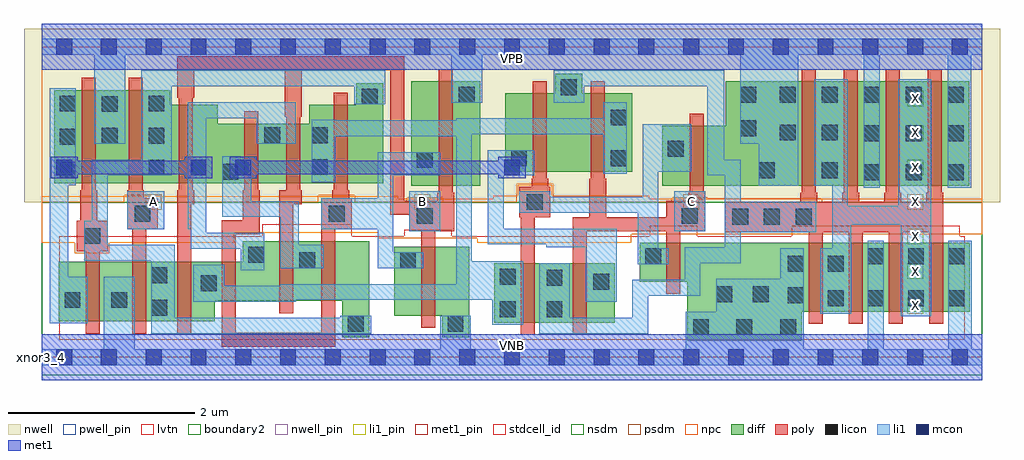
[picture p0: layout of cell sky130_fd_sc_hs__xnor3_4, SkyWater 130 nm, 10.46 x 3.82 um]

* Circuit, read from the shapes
.subckt sky130_fd_sc_hs__xnor3_4 A B C VGND VNB VPB VPWR X
XM1 VGND n1 n2 VNB sky130_fd_pr__nfet_01v8_lvt w=0.64 l=0.15
XM2 n1 A VGND VNB sky130_fd_pr__nfet_01v8_lvt w=0.64 l=0.15
XM3 n3 B n1 VNB sky130_fd_pr__nfet_01v8_lvt w=0.64 l=0.15
XM4 n2 n4 n3 VNB sky130_fd_pr__nfet_01v8_lvt w=0.42 l=0.15
XM5 n5 B n2 VNB sky130_fd_pr__nfet_01v8_lvt w=0.64 l=0.15
XM6 n1 n4 n5 VNB sky130_fd_pr__nfet_01v8_lvt w=0.64 l=0.15
XM7 VGND B n4 VNB sky130_fd_pr__nfet_01v8_lvt w=0.74 l=0.15
XM8 n6 n7 n3 VNB sky130_fd_pr__nfet_01v8_lvt w=0.64 l=0.15
XM9 n5 C n6 VNB sky130_fd_pr__nfet_01v8_lvt w=0.64 l=0.15
XM10 VGND C n7 VNB sky130_fd_pr__nfet_01v8_lvt w=0.42 l=0.15
XM11 X n6 VGND VNB sky130_fd_pr__nfet_01v8_lvt w=0.74 l=0.15 m=4
XM12 VPWR n1 n2 VPB sky130_fd_pr__pfet_01v8 w=1 l=0.15
XM13 n1 A VPWR VPB sky130_fd_pr__pfet_01v8 w=1 l=0.15
XM14 n5 B n1 VPB sky130_fd_pr__pfet_01v8 w=0.84 l=0.15
XM15 n2 n4 n5 VPB sky130_fd_pr__pfet_01v8 w=0.64 l=0.15
XM16 n3 B n2 VPB sky130_fd_pr__pfet_01v8 w=0.64 l=0.15
XM17 n1 n4 n3 VPB sky130_fd_pr__pfet_01v8 w=0.84 l=0.15
XM18 VPWR B n4 VPB sky130_fd_pr__pfet_01v8 w=1.12 l=0.15
XM19 n6 n7 n5 VPB sky130_fd_pr__pfet_01v8 w=0.84 l=0.15
XM20 n3 C n6 VPB sky130_fd_pr__pfet_01v8 w=0.84 l=0.15
XM21 VPWR C n7 VPB sky130_fd_pr__pfet_01v8 w=0.64 l=0.15
XM22 X n6 VPWR VPB sky130_fd_pr__pfet_01v8 w=1.12 l=0.15 m=4
.ends

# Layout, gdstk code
import gdstk
lib = gdstk.Library(unit=1e-6, precision=1e-09)
def R(c, l, rs):  # rectangles x0, y0, x1, y1
    for r in rs: c.add(gdstk.rectangle(r[:2], r[2:], *l))
def A(c, l, x, y, w, h, nx, ny, dx, dy):  # array of equal rectangles
    R(c, l, [(x+i*dx, y+j*dy, x+i*dx+w, y+j*dy+h) for i in range(nx) for j in range(ny)])
def P(c, l, *ps):  # polygons
    for p in ps: c.add(gdstk.Polygon(p, *l))
nwell_pin = (64, 16)
nwell = (64, 20)
diff = (65, 20)
poly = (66, 20)
licon = (66, 44)
li1_pin = (67, 16)
li1 = (67, 20)
mcon = (67, 44)
met1_pin = (68, 16)
met1 = (68, 20)
stdcell_id = (81, 4)
nsdm = (93, 44)
psdm = (94, 20)
npc = (95, 20)
pwell_pin = (122, 16)
lvtn = (125, 44)
boundary2 = (236, 0)

sky130_fd_sc_hs__xnor3_4 = lib.new_cell('sky130_fd_sc_hs__xnor3_4')
R(sky130_fd_sc_hs__xnor3_4, nwell_pin, [(0,3.085,10.08,3.33)])
R(sky130_fd_sc_hs__xnor3_4, nwell, [(-0.19,1.66,10.27,3.52)])
R(sky130_fd_sc_hs__xnor3_4, diff, [(4.85,0.37,6.14,1.01), (3.96,1.84,4.7,2.96)])
P(sky130_fd_sc_hs__xnor3_4, diff, [(3.51,1.245),(2.155,1.245),(2.155,1.025),(0.185,1.025),(0.185,0.385),(1.855,0.385),(1.855,0.605),(3.22,0.605),(3.22,0.215),(3.51,0.215)],
  [(3.66,2.94),(3.37,2.94),(3.37,2.705),(2.865,2.705),(2.865,2.505),(1.885,2.505),(1.885,2.705),(1.375,2.705),(1.375,2.865),(0.135,2.865),(0.135,1.865),(3.66,1.865)],
  [(4.58,1.185),(3.78,1.185),(3.78,0.445),(4.29,0.445),(4.29,0.215),(4.58,0.215)],
  [(6.33,2.83),(5.795,2.83),(5.795,3.04),(5.505,3.04),(5.505,2.83),(4.97,2.83),(4.97,1.99),(6.33,1.99)],
  [(9.94,2.96),(7.33,2.96),(7.33,2.48),(6.65,2.48),(6.65,1.84),(9.94,1.84)],
  [(9.945,1.23),(6.41,1.23),(6.41,0.81),(6.92,0.81),(6.92,0.18),(8.145,0.18),(8.145,0.49),(9.945,0.49)])
P(sky130_fd_sc_hs__xnor3_4, poly, [(9.66,1.765),(9.645,1.765),(9.645,3.09),(9.495,3.09),(9.495,1.765),(9.48,1.765),(9.48,1.665),(9.21,1.665),(9.21,1.765),(9.195,1.765),(9.195,3.09),(9.045,3.09),(9.045,1.765),(9.03,1.765),(9.03,1.67),(8.76,1.67),(8.76,1.765),(8.745,1.765),(8.745,3.09),(8.595,3.09),(8.595,1.765),(8.58,1.765),(8.58,1.67),(8.31,1.67),(8.31,1.765),(8.295,1.765),(8.295,3.09),(8.145,3.09),(8.145,1.765),(8.13,1.765),(8.13,1.67),(7.32,1.67),(7.32,1.34),(8.22,1.34),(8.22,0.36),(8.37,0.36),(8.37,1.34),(8.65,1.34),(8.65,0.36),(8.8,0.36),(8.8,1.34),(9.08,1.34),(9.08,0.36),(9.23,0.36),(9.23,1.34),(9.51,1.34),(9.51,0.36),(9.66,0.36)],
  [(7.11,1.765),(7.095,1.765),(7.095,2.61),(6.945,2.61),(6.945,1.765),(6.93,1.765),(6.93,1.68),(6.695,1.68),(6.695,1.5),(6.05,1.5),(6.05,1.915),(6.035,1.915),(6.035,2.96),(5.885,2.96),(5.885,1.915),(5.87,1.915),(5.87,1.5),(5.69,1.5),(5.69,0.24),(5.84,0.24),(5.84,1.35),(6.695,1.35),(6.695,0.68),(6.845,0.68),(6.845,1.35),(7.11,1.35)],
  [(5.45,1.83),(5.43,1.83),(5.43,1.915),(5.415,1.915),(5.415,2.96),(5.265,2.96),(5.265,1.915),(5.25,1.915),(5.25,1.83),(5.12,1.83),(5.12,1.5),(5.135,1.5),(5.135,0.24),(5.285,0.24),(5.285,1.5),(5.45,1.5)],
  [(4.42,1.765),(4.405,1.765),(4.405,3.09),(4.255,3.09),(4.255,1.765),(4.24,1.765),(4.24,1.68),(3.885,1.68),(3.885,3.225),(1.455,3.225),(1.455,2.78),(1.47,2.78),(1.47,1.79),(1.455,1.79),(1.455,0.255),(1.605,0.255),(1.605,1.64),(1.635,1.64),(1.635,1.79),(1.62,1.79),(1.62,2.78),(1.635,2.78),(1.635,3.075),(2.605,3.075),(2.605,2.58),(2.62,2.58),(2.62,1.79),(2.545,1.79),(2.545,0.475),(2.695,0.475),(2.695,1.64),(2.785,1.64),(2.785,1.79),(2.77,1.79),(2.77,2.58),(2.785,2.58),(2.785,3.075),(3.735,3.075),(3.735,1.53),(3.94,1.53),(3.94,1.35),(4.065,1.35),(4.065,0.315),(4.215,0.315),(4.215,1.35),(4.42,1.35)],
  [(3.325,1.705),(3.295,1.705),(3.295,1.79),(3.28,1.79),(3.28,2.835),(3.13,2.835),(3.13,1.79),(3.115,1.79),(3.115,1.705),(2.995,1.705),(2.995,0.265),(2.08,0.265),(2.08,1.32),(2.335,1.32),(2.335,1.79),(2.32,1.79),(2.32,2.635),(2.17,2.635),(2.17,1.79),(2.155,1.79),(2.155,1.47),(1.93,1.47),(1.93,0.115),(3.145,0.115),(3.145,1.375),(3.325,1.375)],
  [(1.245,1.705),(1.095,1.705),(1.095,1.79),(1.08,1.79),(1.08,2.995),(0.93,2.995),(0.93,1.79),(0.915,1.79),(0.915,1.375),(0.97,1.375),(0.97,0.255),(1.12,0.255),(1.12,1.375),(1.245,1.375)],
  [(0.705,1.465),(0.595,1.465),(0.595,1.79),(0.58,1.79),(0.58,2.995),(0.43,2.995),(0.43,1.79),(0.415,1.79),(0.415,1.465),(0.375,1.465),(0.375,1.135),(0.47,1.135),(0.47,0.255),(0.62,0.255),(0.62,1.135),(0.705,1.135)])
A(sky130_fd_sc_hs__xnor3_4, licon, 8.425, 0.55, 0.17, 0.17, 4, 1, 0.43, 0)
A(sky130_fd_sc_hs__xnor3_4, licon, 8.855, 1, 0.17, 0.17, 3, 1, 0.43, 0)
A(sky130_fd_sc_hs__xnor3_4, licon, 7.4, 1.42, 0.17, 0.17, 3, 1, 0.34, 0)
A(sky130_fd_sc_hs__xnor3_4, licon, 8.81, 1.9, 0.17, 0.17, 3, 2, 0.45, 0.415)
A(sky130_fd_sc_hs__xnor3_4, licon, 0.195, 1.925, 0.17, 0.17, 1, 3, 0, 0.355)
A(sky130_fd_sc_hs__xnor3_4, licon, 7.91, 2.73, 0.17, 0.17, 5, 1, 0.45, 0)
R(sky130_fd_sc_hs__xnor3_4, licon, [(6.98,0.24,7.15,0.41), (7.445,0.24,7.615,0.41), (7.915,0.24,8.085,0.41), (3.28,0.275,3.45,0.445), (4.35,0.275,4.52,0.445), (4.91,0.43,5.08,0.6), (5.41,0.43,5.58,0.6), (1.175,0.445,1.345,0.615), (0.245,0.53,0.415,0.7), (0.745,0.53,0.915,0.7), (7.995,0.58,8.165,0.75), (7.23,0.59,7.4,0.76), (7.62,0.59,7.79,0.76), (1.705,0.71,1.875,0.88), (5.91,0.725,6.08,0.895), (5.41,0.77,5.58,0.94), (4.91,0.78,5.08,0.95), (1.175,0.795,1.345,0.965), (7.995,0.92,8.165,1.09), (8.425,0.92,8.595,1.09), (2.76,0.955,2.93,1.125), (3.84,0.955,4.01,1.125), (6.47,1,6.64,1.17), (2.215,1.015,2.385,1.185), (0.455,1.215,0.625,1.385), (4.02,1.43,4.19,1.6), (6.86,1.43,7.03,1.6), (0.995,1.455,1.165,1.625), (3.075,1.455,3.245,1.625), (5.2,1.58,5.37,1.75), (1.935,1.905,2.105,2.075), (7.685,1.92,7.855,2.09), (8.36,1.92,8.53,2.09), (1.145,1.95,1.315,2.12), (2.895,1.955,3.065,2.125), (4.02,2.03,4.19,2.2), (5.03,2.05,5.2,2.22), (6.1,2.05,6.27,2.22), (6.71,2.15,6.88,2.32), (0.645,2.29,0.815,2.46), (1.145,2.29,1.315,2.46), (2.385,2.295,2.555,2.465), (2.895,2.295,3.065,2.465), (7.91,2.325,8.08,2.495), (8.36,2.325,8.53,2.495), (7.485,2.37,7.655,2.54), (6.1,2.485,6.27,2.655), (0.645,2.63,0.815,2.8), (1.145,2.635,1.315,2.805), (3.43,2.71,3.6,2.88), (4.47,2.73,4.64,2.9), (7.485,2.73,7.655,2.9), (5.565,2.81,5.735,2.98)])
A(sky130_fd_sc_hs__xnor3_4, li1_pin, 9.275, 0.47, 0.17, 0.17, 1, 7, 0, 0.37)
A(sky130_fd_sc_hs__xnor3_4, li1_pin, 1.115, 1.58, 0.17, 0.17, 3, 1, 2.88, 0)
R(sky130_fd_sc_hs__xnor3_4, li1, [(3.94,1.35,4.27,1.78), (6.78,1.35,7.11,1.78), (0.915,1.375,1.315,1.78)])
P(sky130_fd_sc_hs__xnor3_4, li1, [(0.495,0.865),(0.285,0.865),(0.285,1.845),(0.365,1.845),(0.365,2.885),(0.085,2.885),(0.085,0.365),(0.495,0.365)],
  [(6.96,2.5),(6.44,2.5),(6.44,1.72),(5.45,1.72),(5.45,1.78),(5.12,1.78),(5.12,1.55),(6.39,1.55),(6.39,1),(6.72,1),(6.72,1.17),(6.61,1.17),(6.61,1.99),(6.96,1.99)],
  [(2.725,2.735),(1.565,2.735),(1.565,1.375),(1.595,1.375),(1.595,1.165),(2.135,1.165),(2.135,0.935),(2.385,0.935),(2.385,1.335),(1.765,1.335),(1.765,2.565),(2.305,2.565),(2.305,2.29),(2.725,2.29)],
  [(3.02,1.205),(2.755,1.205),(2.755,1.675),(2.245,1.675),(2.245,2.12),(2.135,2.12),(2.135,2.155),(1.935,2.155),(1.935,1.505),(2.555,1.505),(2.555,0.955),(3.02,0.955)],
  [(3.68,3.075),(1.065,3.075),(1.065,2.12),(0.535,2.12),(0.535,1.465),(0.455,1.465),(0.455,1.035),(1.175,1.035),(1.175,0.255),(3.53,0.255),(3.53,0.445),(3.2,0.445),(3.2,0.425),(1.425,0.425),(1.425,1.205),(0.705,1.205),(0.705,1.95),(1.395,1.95),(1.395,2.905),(3.35,2.905),(3.35,2.71),(3.68,2.71)],
  [(4.27,2.2),(3.6,2.2),(3.6,1.705),(2.995,1.705),(2.995,1.375),(3.6,1.375),(3.6,0.955),(4.09,0.955),(4.09,1.125),(3.77,1.125),(3.77,1.95),(4.27,1.95)],
  [(6.16,1.38),(4.95,1.38),(4.95,1.95),(5.28,1.95),(5.28,2.22),(4.78,2.22),(4.78,1.21),(5.405,1.21),(5.405,1.18),(5.83,1.18),(5.83,0.595),(6.16,0.595)],
  [(10.08,0.085),(9.965,0.085),(9.965,1.25),(9.715,1.25),(9.715,0.085),(9.025,0.085),(9.025,1.25),(8.855,1.25),(8.855,0.085),(8.165,0.085),(8.165,1.17),(7.915,1.17),(7.915,0.84),(7.23,0.84),(7.23,0.49),(6.9,0.49),(6.9,0.085),(4.6,0.085),(4.6,0.445),(4.27,0.445),(4.27,0.085),(0.995,0.085),(0.995,0.865),(0.665,0.865),(0.665,0.085),(0,0.085),(0,-0.085),(10.08,-0.085)],
  [(10.08,3.415),(0,3.415),(0,3.245),(0.565,3.245),(0.565,2.29),(0.895,2.29),(0.895,3.245),(4.39,3.245),(4.39,2.73),(4.72,2.73),(4.72,3.245),(7.485,3.245),(7.485,2.29),(7.685,2.29),(7.685,1.84),(8.11,1.84),(8.11,3.245),(8.81,3.245),(8.81,1.82),(8.98,1.82),(8.98,3.245),(9.71,3.245),(9.71,1.82),(9.96,1.82),(9.96,3.245),(10.08,3.245)],
  [(9.535,2.98),(9.18,2.98),(9.18,1.625),(8.64,1.625),(8.64,2.98),(8.28,2.98),(8.28,1.84),(8.47,1.84),(8.47,1.17),(8.345,1.17),(8.345,0.47),(8.675,0.47),(8.675,1.42),(9.205,1.42),(9.205,0.44),(9.535,0.44)],
  [(8.3,1.67),(7.49,1.67),(7.49,2.12),(7.315,2.12),(7.315,3.075),(5.485,3.075),(5.485,2.73),(5.815,2.73),(5.815,2.905),(7.13,2.905),(7.13,1.95),(7.32,1.95),(7.32,1.18),(6.89,1.18),(6.89,0.83),(6.33,0.83),(6.33,0.425),(5.66,0.425),(5.66,1.01),(5.33,1.01),(5.33,0.255),(6.5,0.255),(6.5,0.66),(7.06,0.66),(7.06,1.01),(7.49,1.01),(7.49,1.34),(8.3,1.34)],
  [(6.27,2.735),(6.02,2.735),(6.02,2.56),(4.44,2.56),(4.44,2.54),(3.145,2.54),(3.145,2.545),(2.895,2.545),(2.895,1.875),(3.145,1.875),(3.145,2.37),(4.44,2.37),(4.44,0.785),(2.555,0.785),(2.555,0.765),(1.955,0.765),(1.955,0.995),(1.625,0.995),(1.625,0.595),(2.725,0.595),(2.725,0.615),(4.83,0.615),(4.83,0.35),(5.16,0.35),(5.16,1.03),(4.61,1.03),(4.61,2.39),(6.02,2.39),(6.02,1.97),(6.27,1.97)])
A(sky130_fd_sc_hs__xnor3_4, mcon, 0.155, -0.085, 0.17, 0.17, 21, 2, 0.48, 3.33)
R(sky130_fd_sc_hs__xnor3_4, mcon, [(0.155,1.95,0.325,2.12), (1.595,1.95,1.765,2.12), (2.075,1.95,2.245,2.12), (4.955,1.95,5.125,2.12)])
R(sky130_fd_sc_hs__xnor3_4, met1_pin, [(0,0,10.08,0.245), (0,3.085,10.08,3.33)])
R(sky130_fd_sc_hs__xnor3_4, met1, [(0,-0.245,10.08,0.245), (0,3.085,10.08,3.575)])
P(sky130_fd_sc_hs__xnor3_4, met1, [(1.825,2.15),(1.535,2.15),(1.535,2.105),(0.385,2.105),(0.385,2.15),(0.095,2.15),(0.095,1.92),(0.385,1.92),(0.385,1.965),(1.535,1.965),(1.535,1.92),(1.825,1.92)],
  [(5.185,2.15),(4.895,2.15),(4.895,2.105),(2.305,2.105),(2.305,2.15),(2.015,2.15),(2.015,1.92),(2.305,1.92),(2.305,1.965),(4.895,1.965),(4.895,1.92),(5.185,1.92)])
R(sky130_fd_sc_hs__xnor3_4, stdcell_id, [(0,0,10.08,3.33)])
R(sky130_fd_sc_hs__xnor3_4, nsdm, [(0,-0.19,10.08,1.66)])
P(sky130_fd_sc_hs__xnor3_4, psdm, [(10.08,3.52),(0,3.52),(0,1.66),(0.885,1.66),(0.885,1.735),(1.275,1.735),(1.275,1.66),(2.965,1.66),(2.965,1.735),(3.355,1.735),(3.355,1.66),(3.91,1.66),(3.91,1.71),(4.3,1.71),(4.3,1.66),(5.09,1.66),(5.09,1.86),(5.48,1.86),(5.48,1.66),(6.75,1.66),(6.75,1.71),(7.14,1.71),(7.14,1.7),(8.36,1.7),(8.36,1.66),(10.08,1.66)])
P(sky130_fd_sc_hs__xnor3_4, npc, [(10.08,1.7),(6.51,1.7),(6.51,1.73),(5.47,1.73),(5.47,1.85),(5.1,1.85),(5.1,1.73),(4.84,1.73),(4.84,1.7),(3.82,1.7),(3.82,1.725),(0,1.725),(0,1.23),(0.355,1.23),(0.355,1.115),(0.725,1.115),(0.725,1.23),(2.065,1.23),(2.065,1.335),(3.6,1.335),(3.6,1.275),(4.67,1.275),(4.67,1.23),(6.32,1.23),(6.32,1.32),(10.08,1.32)])
R(sky130_fd_sc_hs__xnor3_4, pwell_pin, [(0,0,10.08,0.245)])
P(sky130_fd_sc_hs__xnor3_4, lvtn, [(9.89,1.3),(9.84,1.3),(9.84,1.41),(8.04,1.41),(8.04,1.3),(7.025,1.3),(7.025,1.41),(6.515,1.41),(6.515,1.3),(4.395,1.3),(4.395,1.365),(3.885,1.365),(3.885,1.3),(3.325,1.3),(3.325,1.425),(2.365,1.425),(2.365,1.3),(0.19,1.3),(0.19,0.19),(9.89,0.19)])
R(sky130_fd_sc_hs__xnor3_4, boundary2, [(0,0,10.08,3.33)])
sky130_fd_sc_hs__xnor3_4.add(gdstk.Label('xnor3_4', (0,0), layer=83, texttype=44))
sky130_fd_sc_hs__xnor3_4.add(gdstk.Label('VNB', (5.04,0.123), layer=64, texttype=59))
sky130_fd_sc_hs__xnor3_4.add(gdstk.Label('VPB', (5.04,3.208), layer=64, texttype=5))
sky130_fd_sc_hs__xnor3_4.add(gdstk.Label('VPWR', (5.04,3.208), layer=68, texttype=5))
sky130_fd_sc_hs__xnor3_4.add(gdstk.Label('VGND', (5.04,0.123), layer=68, texttype=5))
sky130_fd_sc_hs__xnor3_4.add(gdstk.Label('X', (9.36,0.555), layer=67, texttype=5))
sky130_fd_sc_hs__xnor3_4.add(gdstk.Label('X', (9.36,0.925), layer=67, texttype=5))
sky130_fd_sc_hs__xnor3_4.add(gdstk.Label('X', (9.36,1.295), layer=67, texttype=5))
sky130_fd_sc_hs__xnor3_4.add(gdstk.Label('X', (9.36,1.665), layer=67, texttype=5))
sky130_fd_sc_hs__xnor3_4.add(gdstk.Label('X', (9.36,2.035), layer=67, texttype=5))
sky130_fd_sc_hs__xnor3_4.add(gdstk.Label('X', (9.36,2.405), layer=67, texttype=5))
sky130_fd_sc_hs__xnor3_4.add(gdstk.Label('X', (9.36,2.775), layer=67, texttype=5))
sky130_fd_sc_hs__xnor3_4.add(gdstk.Label('B', (4.08,1.665), layer=67, texttype=5))
sky130_fd_sc_hs__xnor3_4.add(gdstk.Label('C', (6.96,1.665), layer=67, texttype=5))
sky130_fd_sc_hs__xnor3_4.add(gdstk.Label('A', (1.2,1.665), layer=67, texttype=5))

lib.write_gds('sky130_fd_sc_hs__xnor3_4.gds')
